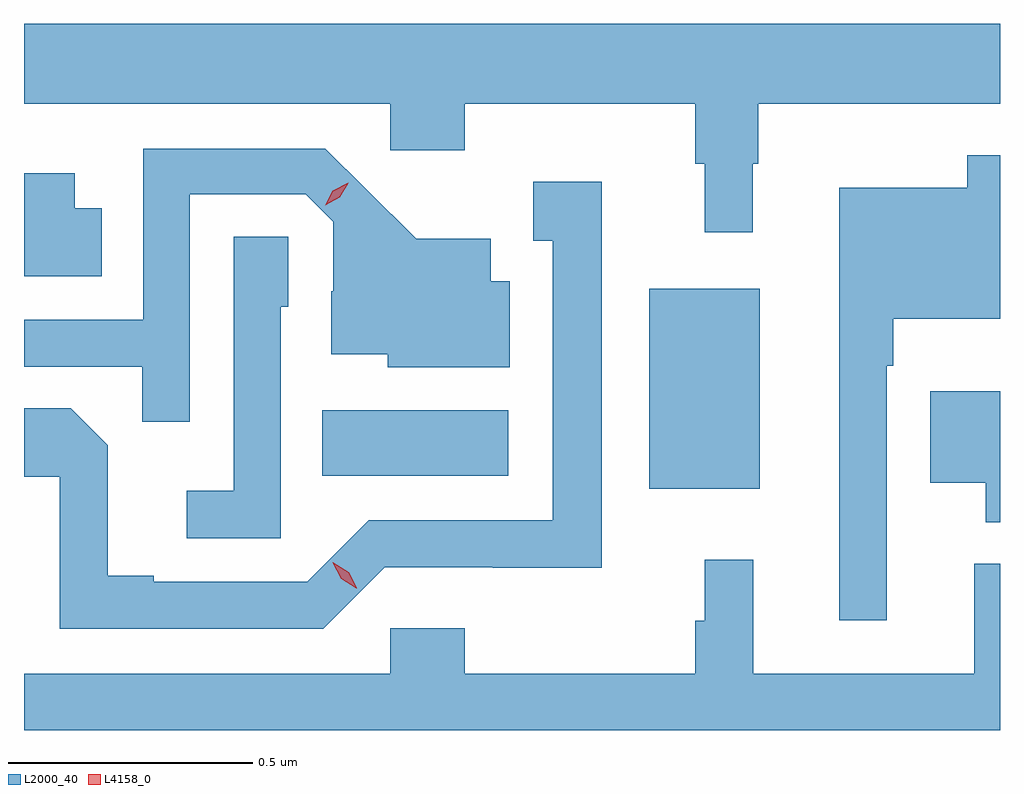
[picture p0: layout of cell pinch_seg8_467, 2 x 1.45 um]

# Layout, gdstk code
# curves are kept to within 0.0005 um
import gdstk
lib = gdstk.Library(unit=1e-6, precision=1e-09)
def R(c, l, rs):  # rectangles x0, y0, x1, y1
    for r in rs: c.add(gdstk.rectangle(r[:2], r[2:], *l))
def P(c, l, *ps):  # polygons
    for p in ps: c.add(gdstk.Polygon(p, *l))
L2000_40 = (2000, 40)
L4158_0 = (4158, 0)

pinch_seg8_467 = lib.new_cell('pinch_seg8_467')
R(pinch_seg8_467, L2000_40, [(198.422,1142.351,198.649,1142.761), (197.752,1142.378,198.133,1142.512)])
P(pinch_seg8_467, L2000_40, [(198.634,1143.017),(198.646,1143.017),(198.646,1143.14),(199.141,1143.14),(199.141,1143.304),(197.141,1143.304),(197.141,1143.14),(197.892,1143.14),(197.892,1143.045),(198.044,1143.045),(198.044,1143.14),(198.517,1143.14),(198.517,1143.017),(198.536,1143.017),(198.536,1142.877),(198.634,1142.877)],
  [(197.481,1142.955),(197.718,1142.955),(197.775,1142.898),(197.775,1142.756),(197.771,1142.756),(197.771,1142.627),(197.886,1142.627),(197.886,1142.6),(198.136,1142.6),(198.136,1142.776),(198.097,1142.776),(198.097,1142.863),(197.945,1142.863),(197.758,1143.048),(197.385,1143.048),(197.385,1142.697),(197.141,1142.697),(197.141,1142.601),(197.383,1142.601),(197.383,1142.488),(197.481,1142.488)],
  [(198.909,1142.603),(198.922,1142.603),(198.922,1142.699),(199.141,1142.699),(199.141,1143.034),(199.074,1143.034),(199.074,1142.968),(198.812,1142.968),(198.812,1142.082),(198.909,1142.082)],
  [(197.3,1142.926),(197.245,1142.926),(197.245,1142.998),(197.141,1142.998),(197.141,1142.786),(197.3,1142.786)],
  [(197.88,1142.19),(198.102,1142.19),(198.102,1142.189),(198.325,1142.189),(198.325,1142.98),(198.185,1142.98),(198.185,1142.859),(198.224,1142.859),(198.224,1142.286),(197.847,1142.286),(197.721,1142.16),(197.407,1142.16),(197.407,1142.173),(197.313,1142.173),(197.313,1142.44),(197.237,1142.516),(197.141,1142.516),(197.141,1142.376),(197.214,1142.376),(197.214,1142.064),(197.754,1142.064)],
  [(197.667,1142.724),(197.682,1142.724),(197.682,1142.867),(197.571,1142.867),(197.571,1142.347),(197.475,1142.347),(197.475,1142.25),(197.667,1142.25)],
  [(199.141,1142.551),(198.998,1142.551),(198.998,1142.363),(199.112,1142.363),(199.112,1142.282),(199.141,1142.282)],
  [(199.141,1142.197),(199.088,1142.197),(199.088,1141.972),(198.635,1141.972),(198.635,1142.206),(198.536,1142.206),(198.536,1142.081),(198.517,1142.081),(198.517,1141.972),(198.044,1141.972),(198.044,1142.065),(197.892,1142.065),(197.892,1141.972),(197.141,1141.972),(197.141,1141.856),(199.141,1141.856)])
P(pinch_seg8_467, L4158_0, [(197.822,1142.147),(197.791,1142.167),(197.774,1142.199),(197.774,1142.2),(197.774,1142.2),(197.806,1142.18),(197.823,1142.148),(197.823,1142.147)],
  [(197.758,1142.932),(197.758,1142.932),(197.774,1142.962),(197.805,1142.978),(197.805,1142.978),(197.805,1142.977),(197.788,1142.948),(197.758,1142.932)])

lib.write_gds('pinch_seg8_467.gds')
